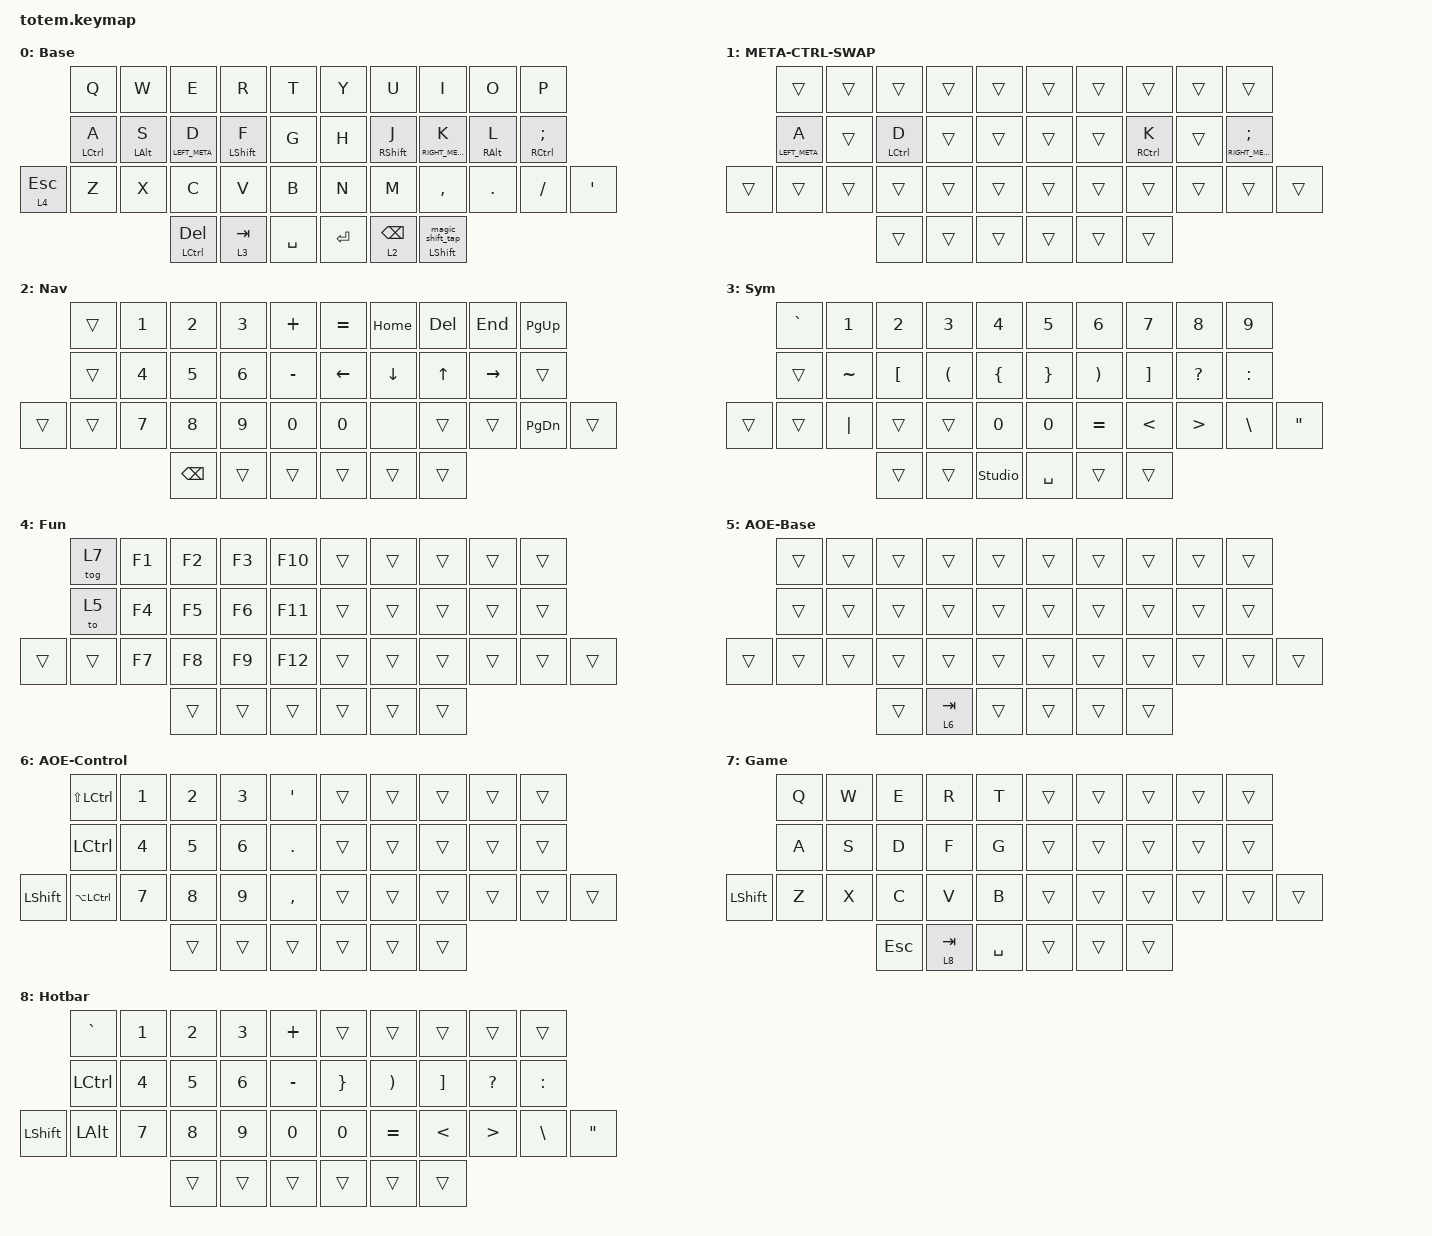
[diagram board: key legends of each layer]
//
//                                                        ▀▀▀▀▀     ▀▀▀▀▀          ▀▀█▀▀
//                                                        ▄▀▀▀▄  ▄  ▄▀▀▀▄  ▄  ▄▀▀▀▄  █  ▄▀▀▀▄
//                                                        █   █  █  █   █  █  █   █  █  █   █
//                                                         ▀▀▀   █   ▀▀▀   █   ▀▀▀   ▀   ▀▀▀
//                                                               █      ▄▄▄█▄▄▄    █   █  
//                                                               ▀      █  █  █     █▄█
//                                                             ▀▀▀▀▀    █  █  █      ▀
//                                                                      ▀  ▀  ▀
//
// ▄▄▄▄▄▄▄▄▄▄▄▄▄▄▄▄▄▄▄▄▄▄▄▄▄▄▄▄▄▄▄▄▄▄▄▄▄▄▄▄▄▄▄▄▄▄▄▄▄▄▄▄▄▄▄▄▄▄▄▄▄▄▄▄▄▄▄▄▄▄▄▄▄▄▄▄▄▄▄▄▄▄▄▄▄▄▄▄▄▄▄▄▄▄▄▄▄▄▄▄▄▄▄▄▄▄▄▄▄▄▄▄▄▄▄▄▄▄▄▄▄▄▄▄▄▄▄▄▄▄▄▄▄▄▄▄▄▄▄▄▄▄▄▄▄▄▄▄▄

#include <behaviors.dtsi>
#include <dt-bindings/zmk/keys.h>

// #define Base        0
// #define Nav         1
// #define Sym         2
// #define Fun         3
// #define Game        4
// #define Gameplus    5

&mt {
    quick-tap-ms = <100>;
    flavor = "tap-preferred";
    tapping-term-ms = <170>;
};

&lt {
    tapping-term-ms = <240>;
    flavor = "balanced";
    quick-tap-ms = <200>;
};

&sk { quick-release; };

/ {
    behaviors {
        hmr: homerow_mods_right {
            compatible = "zmk,behavior-hold-tap";
            #binding-cells = <2>;
            flavor = "balanced";
            require-prior-idle-ms = <120>;
            tapping-term-ms = <210>;
            quick-tap-ms = <175>;
            bindings = <&kp>, <&kp>;

            hold-trigger-key-positions = <4 14 25 33 34 32 0 1 2 3 10 11 12 13 22 23 24 21 20>;
            hold-trigger-on-release;
            label = "HOMEROW_MODS_RIGHT";
        };

        hml: homerow_mods_left {
            compatible = "zmk,behavior-hold-tap";
            #binding-cells = <2>;
            flavor = "balanced";
            require-prior-idle-ms = <120>;
            tapping-term-ms = <210>;
            quick-tap-ms = <175>;
            bindings = <&kp>, <&kp>;

            hold-trigger-key-positions = <5 6 7 8 9 15 16 17 18 19 26 27 28 29 30 31 36 37 35>;
            hold-trigger-on-release;
            label = "HOMEROW_MODS_LEFT";
        };

        magic_shift_tap: magic_shift_tap {
            compatible = "zmk,behavior-mod-morph";
            label = "MAGIC_SHIFT_TAP";
            bindings = <&sk LEFT_SHIFT>, <&caps_word>;

            #binding-cells = <0>;
            mods = <(MOD_LSFT)>;
        };

        magic_shift: magic_shift {
            compatible = "zmk,behavior-hold-tap";
            label = "MAGIC_SHIFT";
            bindings = <&kp>, <&magic_shift_tap>;

            #binding-cells = <2>;
            tapping-term-ms = <175>;
            flavor = "tap-preferred";
        };

        // Game mod-tap: hold = modifier, tap = letter.  No key-position
        // restriction, so any other key forces the hold (no HRM tuning).

        game_hml: game_hold_mod_left {
            compatible = "zmk,behavior-hold-tap";
            label = "GAME_HOLD_MOD_LEFT";
            #binding-cells = <2>;
            flavor = "hold-preferred";
            tapping-term-ms = <150>;
            bindings = <&kp>, <&kp>;
        };

        // Game A: while Shift is held (running), A emits a plain Ctrl the
        // instant it is pressed (slide/crouch).  Otherwise it is the
        // hold-tap above, so 'a' still types.

        game_a: game_a {
            compatible = "zmk,behavior-mod-morph";
            label = "GAME_A";
            #binding-cells = <0>;
            bindings = <&game_hml LCTRL A>, <&kp LCTRL>;

            mods = <(MOD_LSFT)>;
        };

        // Game layer-tap: tap = TAB, hold = layer.  "hold-preferred" so a
        // chord engages the layer the instant the other key goes down (no
        // waiting for key-up), with a short term for snappy chording.

        glt: game_layer_tap {
            compatible = "zmk,behavior-hold-tap";
            label = "GAME_LAYER_TAP";
            #binding-cells = <2>;
            flavor = "hold-preferred";
            tapping-term-ms = <150>;
            quick-tap-ms = <100>;
            bindings = <&mo>, <&kp>;
        };
    };

    combos {
        compatible = "zmk,combos";

        to-base-layer {
            bindings = <&to 0>;
            key-positions = <34 35>;
            require-prior-idle-ms = <100>;
        };

        combo-dash {
            bindings = <&kp MINUS>;
            key-positions = <13 24>;
            layers = <0 1 2 3 4 5 6>;
        };

        combo-equal {
            bindings = <&kp EQUAL>;
            key-positions = <16 27>;
            layers = <0 1 2 3 4 5 6>;
        };

        combo-underscore {
            bindings = <&kp UNDER>;
            key-positions = <14 25>;
            layers = <0 1 2 3 4 5 6>;
        };

        combo-plus {
            bindings = <&kp PLUS>;
            key-positions = <15 26>;
            layers = <0 1 2 3 4 5 6>;
        };

        combo-bang {
            bindings = <&kp EXCL>;
            key-positions = <1 11>;
            layers = <0 1 2 3 4 5 6>;
        };

        combo-at {
            bindings = <&kp AT>;
            key-positions = <2 12>;
            layers = <0 1 2 3 4 5 6>;
        };

        combo-hash {
            bindings = <&kp HASH>;
            key-positions = <3 13>;
            layers = <0 1 2 3 4 5 6>;
        };

        combo-dollar {
            bindings = <&kp DOLLAR>;
            key-positions = <4 14>;
            layers = <0 1 2 3 4 5 6>;
        };

        combo-percent {
            bindings = <&kp PERCENT>;
            key-positions = <5 15>;
            layers = <0 1 2 3 4 5 6>;
        };

        combo-hat {
            bindings = <&kp CARET>;
            key-positions = <6 16>;
            layers = <0 1 2 3 4 5 6>;
        };

        combo-ampersand {
            bindings = <&kp AMPERSAND>;
            key-positions = <7 17>;
            layers = <0 1 2 3 4 5 6>;
        };

        combo-star {
            bindings = <&kp STAR>;
            key-positions = <8 18>;
            layers = <0 1 2 3 4 5 6>;
        };

        swap-meta-ctrl {
            bindings = <&tog 1>;
            key-positions = <12 10 17 19>;
            layers = <0 1 2 3 4 5 6>;
        };

        AOE-Hometown {
            bindings = <&kp H>;
            key-positions = <12 13>;
            layers = <5>;
        };
    };

    keymap {
        compatible = "zmk,keymap";

        Base {
            display-name = "Base";
            bindings = <
              &kp Q                &kp W            &kp E             &kp R              &kp T        &kp Y    &kp U               &kp I                      &kp O             &kp P
              &hml LEFT_CONTROL A  &hml LEFT_ALT S  &hml LEFT_META D  &hml LEFT_SHIFT F  &kp G        &kp H    &hmr RIGHT_SHIFT J  &hmr RIGHT_META K          &hmr RIGHT_ALT L  &hmr RIGHT_CONTROL SEMICOLON
&lt 4 ESCAPE  &kp Z                &kp X            &kp C             &kp V              &kp B        &kp N    &kp M               &kp COMMA                  &kp DOT           &kp SLASH                     &kp APOSTROPHE
                                                    &mt LCTRL DEL     &lt 3 TAB          &kp SPACE    &kp RET  &lt 2 BSPC          &magic_shift LEFT_SHIFT 0
            >;
        };

        META-CTRL-SWAP {
            bindings = <
        &trans            &trans  &trans        &trans  &trans    &trans  &trans  &trans        &trans  &trans
        &hml LEFT_META A  &trans  &hml LCTRL D  &trans  &trans    &trans  &trans  &hmr RCTRL K  &trans  &hmr RIGHT_META SEMICOLON
&trans  &trans            &trans  &trans        &trans  &trans    &trans  &trans  &trans        &trans  &trans                     &trans
                                  &trans        &trans  &trans    &trans  &trans  &trans
            >;
        };

        Nav {
            display-name = "Nav";
            bindings = <
        &trans  &kp NUMBER_1  &kp NUMBER_2   &kp NUMBER_3  &kp PLUS        &kp EQUAL       &kp HOME        &kp DELETE    &kp END          &kp PAGE_UP
        &trans  &kp NUMBER_4  &kp NUMBER_5   &kp NUMBER_6  &kp MINUS       &kp LEFT_ARROW  &kp DOWN_ARROW  &kp UP_ARROW  &kp RIGHT_ARROW  &trans
&trans  &trans  &kp NUMBER_7  &kp NUMBER_8   &kp NUMBER_9  &kp NUMBER_0    &kp NUMBER_0    &none           &trans        &trans           &kp PAGE_DOWN  &trans
                              &kp BACKSPACE  &trans        &trans          &trans          &trans          &trans
            >;
        };

        Sym {
            display-name = "Sym";
            bindings = <
        &kp GRAVE  &kp NUMBER_1  &kp NUMBER_2      &kp NUMBER_3          &kp NUMBER_4      &kp NUMBER_5     &kp NUMBER_6           &kp NUMBER_7       &kp NUMBER_8      &kp NUMBER_9
        &trans     &kp TILDE     &kp LEFT_BRACKET  &kp LEFT_PARENTHESIS  &kp LEFT_BRACE    &kp RIGHT_BRACE  &kp RIGHT_PARENTHESIS  &kp RIGHT_BRACKET  &kp QUESTION      &kp COLON
&trans  &trans     &kp PIPE      &trans            &trans                &kp N0            &kp NUMBER_0     &kp EQUAL              &kp LESS_THAN      &kp GREATER_THAN  &kp BACKSLASH  &kp DOUBLE_QUOTES
                                 &trans            &trans                &studio_unlock    &kp SPACE        &trans                 &trans
            >;
        };

        Fun {
            display-name = "Fun";
            bindings = <
        &tog 7  &kp F1  &kp F2  &kp F3  &kp F10    &trans  &trans  &trans  &trans  &trans
        &to 5   &kp F4  &kp F5  &kp F6  &kp F11    &trans  &trans  &trans  &trans  &trans
&trans  &trans  &kp F7  &kp F8  &kp F9  &kp F12    &trans  &trans  &trans  &trans  &trans  &trans
                        &trans  &trans  &trans     &trans  &trans  &trans
            >;
        };

        AOE-Base {
            bindings = <
        &trans  &trans  &trans  &trans     &trans    &trans  &trans  &trans  &trans  &trans
        &trans  &trans  &trans  &trans     &trans    &trans  &trans  &trans  &trans  &trans
&trans  &trans  &trans  &trans  &trans     &trans    &trans  &trans  &trans  &trans  &trans  &trans
                        &trans  &lt 6 TAB  &trans    &trans  &trans  &trans
            >;

            label = "AOE-Base";
        };

        AOE-Control {
            bindings = <
                &kp LS(LCTRL)  &kp NUMBER_1  &kp N2  &kp N3  &kp APOS     &trans  &trans  &trans  &trans  &trans
                &kp LCTRL      &kp N4        &kp N5  &kp N6  &kp DOT      &trans  &trans  &trans  &trans  &trans
&kp LEFT_SHIFT  &kp LA(LCTRL)  &kp N7        &kp N8  &kp N9  &kp COMMA    &trans  &trans  &trans  &trans  &trans  &trans
                                             &trans  &trans  &trans       &trans  &trans  &trans
            >;

            label = "AOE-Control";
        };

        // ------------------------------------------------------------------
        // Game: toggleable FPS/MMO layer, stacked on Base via &tog 7
        // (entered from Fun).  Left half is explicit (letters at normal
        // QWERTY positions; rebind the *game* to ESDF); right half is
        // &trans so it keeps Base's letters + home-row mods.  No hold-taps
        // and no combos on the left half.
        //
        //   * A      = &game_a : hold Ctrl / tap 'a', but a plain instant
        //              Ctrl while Shift is held (run + slide).
        //   * outer  = LSHIFT (sprint/walk)
        //   * LTh1   = ESC,  LTh2 = tap TAB / hold Hotbar,  LTh3 = SPACE
        //   * exit   = &to 0 thumb-pair combo (34 + 35)
        // ------------------------------------------------------------------

        Game {
            display-name = "Game";
            bindings = <
            &kp Q  &kp W  &kp E       &kp R       &kp T        &trans  &trans  &trans  &trans  &trans
            &kp A  &kp S  &kp D       &kp F       &kp G        &trans  &trans  &trans  &trans  &trans
&kp LSHIFT  &kp Z  &kp X  &kp C       &kp V       &kp B        &trans  &trans  &trans  &trans  &trans  &trans
                          &kp ESCAPE  &glt 8 TAB  &kp SPACE    &trans  &trans  &trans
            >;
        };

        // ------------------------------------------------------------------
        // Hotbar: held via Game LTh2 (&glt 8 TAB).  MMO action bar.
        //   * pinky column = real mods   (Q=`, A=Ctrl, Z=Alt, outer=Shift)
        //   * centre 3x3   = 1-9, pressed by middle/index so the pinky can
        //                    hold a mod and chord
        //   * 0 = B, + = T, - = G (same as Nav)
        //   * right half + thumbs = &trans (fall through to Game)
        // ------------------------------------------------------------------

        Hotbar {
            display-name = "Hotbar";
            bindings = <
                &kp GRAVE  &kp N1  &kp N2  &kp N3  &kp PLUS     &trans           &trans                 &trans         &trans            &trans
                &kp LCTRL  &kp N4  &kp N5  &kp N6  &kp MINUS    &kp RIGHT_BRACE  &kp RIGHT_PARENTHESIS  &kp RBKT       &kp QUESTION      &kp COLON
&kp LEFT_SHIFT  &kp LALT   &kp N7  &kp N8  &kp N9  &kp N0       &kp N0           &kp EQUAL              &kp LESS_THAN  &kp GREATER_THAN  &kp BSLH   &kp DOUBLE_QUOTES
                                   &trans  &trans  &trans       &trans           &trans                 &trans
            >;
        };
    };
};
